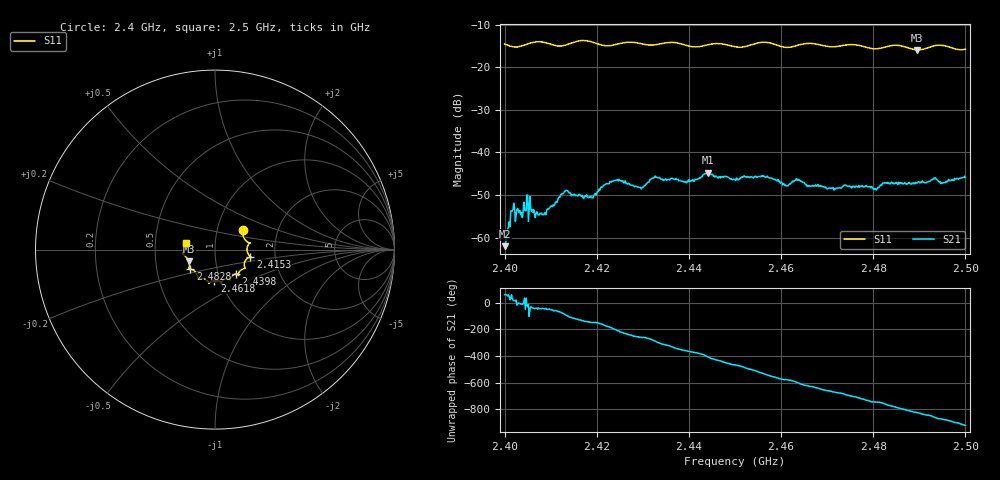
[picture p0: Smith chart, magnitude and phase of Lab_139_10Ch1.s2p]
# Hz S RI R 50
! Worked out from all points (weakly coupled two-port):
!   601 points, 2.4 GHz to 2.5 GHz, reference 50 ohm
!   highest |S21| = -44.76 dB at 2.4442 GHz (marker M1); lowest = -62.0 dB at 2.4 GHz (marker M2)
!   lowest |S11| = -15.9 dB at 2.4895 GHz (marker M3), VSWR 1.38, Z = 37 - j5.01 ohm
!   |S11| at or under -10 dB: start of sweep to end of sweep
!   S12 and S22 are empty: the file has one direction only
!   S11 on the Smith chart (normalised r, x): 2.4 GHz: 1.33, +0.29; 2.4153 GHz: 1.48, -0.12; 2.4398 GHz: 1.21, -0.34; 2.4618 GHz: 0.94, -0.33; 2.4828 GHz: 0.74, -0.17; 2.5 GHz: 0.72, +0.06
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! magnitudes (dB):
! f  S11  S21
! 2.4 GHz  -14.5  -62.0
! 2.4018 GHz  -15.2  -53.3
! 2.4052 GHz  -14.4  -56.2
! 2.4085 GHz  -14.1  -54.7
! 2.413 GHz  -14.8  -49.1
! 2.4153 GHz  -14.0  -50.2
! 2.4167 GHz  -13.7  -50.3
! 2.4193 GHz  -14.2  -50.1
! 2.424 GHz  -14.7  -46.6
! 2.4295 GHz  -14.4  -48.2
! 2.4333 GHz  -14.6  -45.9
! 2.4398 GHz  -15.0  -46.9
! 2.4442 GHz  -14.7  -44.8
! 2.45 GHz  -15.1  -46.3
! 2.4565 GHz  -14.1  -45.8
! 2.4618 GHz  -15.3  -47.4
! 2.4667 GHz  -14.4  -47.8
! 2.4803 GHz  -15.6  -48.5
! 2.4828 GHz  -15.1  -47.1
! 2.4833 GHz  -15.0  -47.3
! 2.4895 GHz  -15.9  -47.2
! 2.5 GHz  -15.7  -45.9
